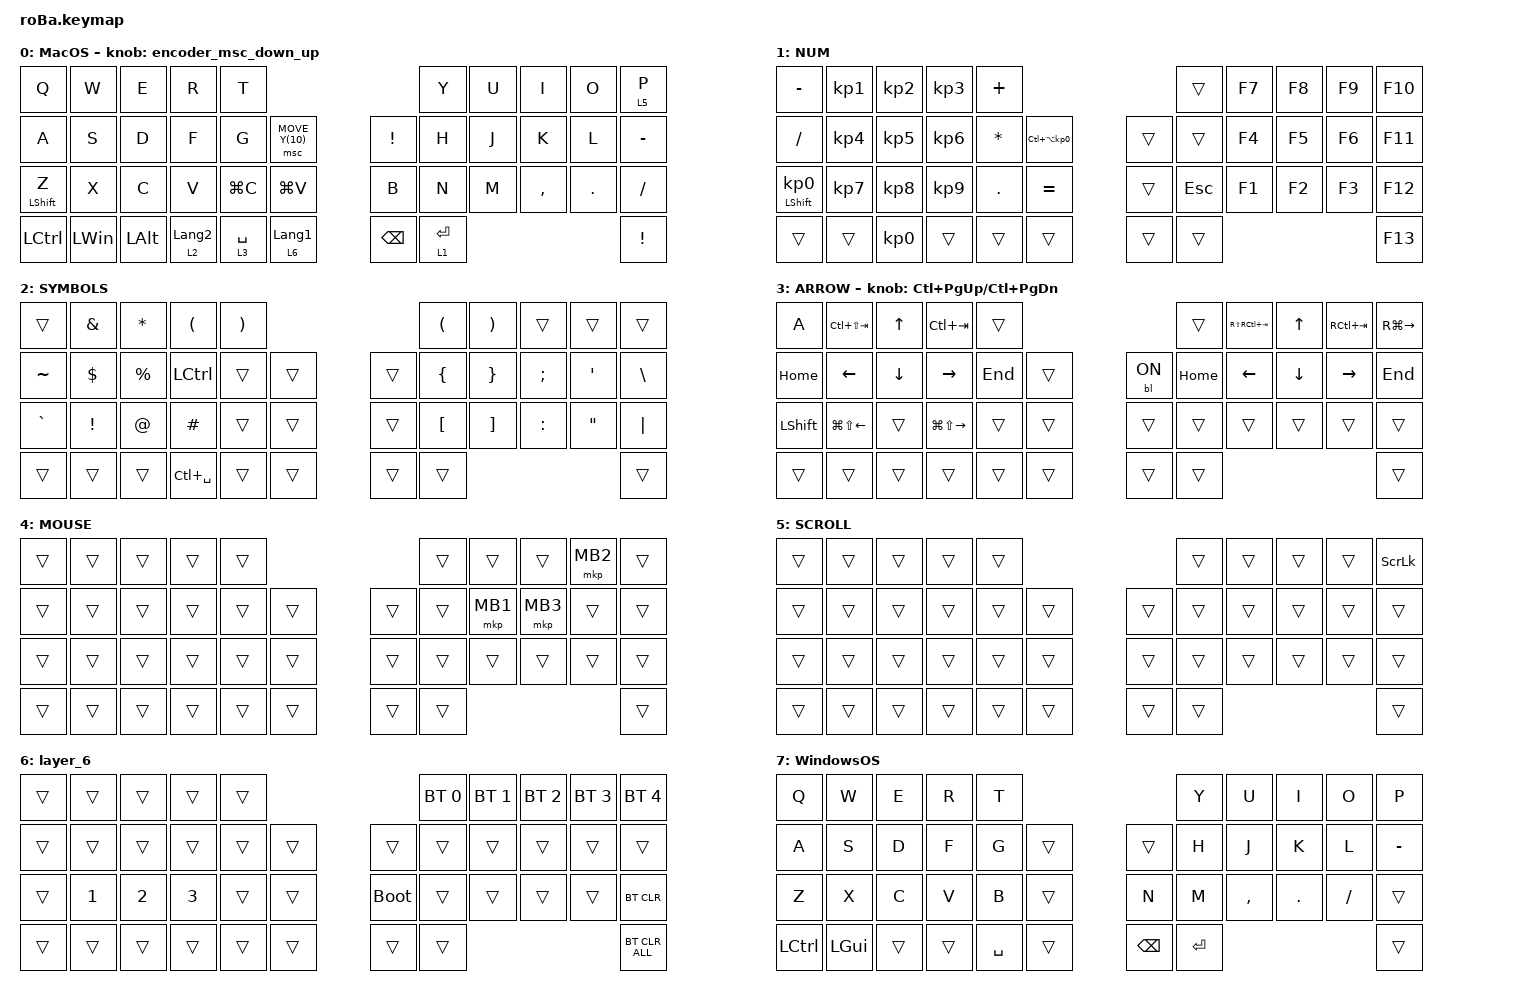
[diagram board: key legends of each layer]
#include <behaviors.dtsi>
#include <dt-bindings/zmk/backlight.h>
#include <dt-bindings/zmk/bt.h>
#include <dt-bindings/zmk/keys.h>
#include <dt-bindings/zmk/pointing.h>

#define ZMK_POINTING_DEFAULT_SCRL_VAL 80

&mt {
    flavor = "balanced";
    quick-tap-ms = <0>;
};

&trackball {
    automouse-layer = <4>;
    scroll-layers = <5>;

    // arrows {
    //     layers = <3>;
    //     bindings =
    //         <&kp RIGHT_ARROW>,
    //         <&kp LEFT_ARROW>,
    //         <&kp UP_ARROW>,
    //         <&kp DOWN_ARROW>;
    //     tick = <10>;
    //     wait-ms = <5>;
    //     tap-ms = <5>;
    // };
};

/ {
    combos {
        compatible = "zmk,combos";

        tab {
            bindings = <&kp TAB>;
            key-positions = <11 12>;
        };

        shift_tab {
            bindings = <&kp LS(TAB)>;
            key-positions = <12 13>;
        };

        muhennkann {
            bindings = <&to_layer_0 INT_MUHENKAN>;
            key-positions = <11 10>;
        };

        double_quotation {
            bindings = <&kp DOUBLE_QUOTES>;
            key-positions = <20 21>;
        };

        eq {
            bindings = <&kp EQUAL>;
            key-positions = <24 25>;
        };
    };

    macros {
        to_layer_0: to_layer_0 {
            compatible = "zmk,behavior-macro-one-param";
            #binding-cells = <1>;
            bindings = <&to 0 &macro_param_1to1 &kp MACRO_PLACEHOLDER>;
            label = "TO_LAYER_0";
        };

        mkp_exit_AML: mkp_exit_AML {
            compatible = "zmk,behavior-macro-one-param";
            #binding-cells = <1>;
            bindings =
                <&macro_press>,
                <&macro_param_1to1 &mkp MACRO_PLACEHOLDER>,
                <&macro_pause_for_release>,
                <&macro_release>,
                <&macro_param_1to1 &mkp MACRO_PLACEHOLDER>,
                <&macro_tap>,
                <&sl 4>;

            label = "MKP_EXIT_AML";
        };
    };

    behaviors {
        encoder_msc_down_up: encoder_msc_down_up {
            compatible = "zmk,behavior-sensor-rotate";
            label = "ENCODER_MSC_DOWN_UP";
            #sensor-binding-cells = <0>;
            bindings = <&msc SCRL_DOWN>, <&msc SCRL_UP>;

            tap-ms = <20>;
        };

        lt_to_layer_0: lt_to_layer_0 {
            compatible = "zmk,behavior-hold-tap";
            label = "LAYER_TAP_TO_0";
            bindings = <&mo>, <&to_layer_0>;

            #binding-cells = <2>;
            tapping-term-ms = <200>;
        };
    };

    keymap {
        compatible = "zmk,keymap";

        MacOS {
            bindings = <
&kp Q             &kp W         &kp E         &kp R                        &kp T                                                          &kp Y        &kp U  &kp I      &kp O    &lt 5 P
&kp A             &kp S         &kp D         &kp F                        &kp G        &msc MOVE_Y(10)                  &kp EXCLAMATION  &kp H        &kp J  &kp K      &kp L    &kp MINUS
&mt LEFT_SHIFT Z  &kp X         &kp C         &kp V                        &kp LG(C)    &kp LG(V)                        &kp B            &kp N        &kp M  &kp COMMA  &kp DOT  &kp SLASH
&kp LCTRL         &kp LEFT_WIN  &kp LEFT_ALT  &lt_to_layer_0 2 LANGUAGE_2  &lt 3 SPACE  &lt_to_layer_0 6 LANGUAGE_1      &kp BACKSPACE    &lt 1 ENTER                             &kp EXCLAMATION
            >;

            sensor-bindings = <&encoder_msc_down_up>;
        };

        NUM {
            bindings = <
&kp MINUS                   &kp KP_N1        &kp KP_NUMBER_2  &kp KP_NUMBER_3  &kp PLUS                                           &trans      &kp F7  &kp F8  &kp F9  &kp F10
&kp SLASH                   &kp KP_NUMBER_4  &kp KP_NUMBER_5  &kp KP_NUMBER_6  &kp ASTERISK  &kp LC(LA(KP_NUMBER_0))      &trans  &trans      &kp F4  &kp F5  &kp F6  &kp F11
&mt LEFT_SHIFT KP_NUMBER_0  &kp KP_NUMBER_7  &kp KP_NUMBER_8  &kp KP_NUMBER_9  &kp PERIOD    &kp EQUAL                    &trans  &kp ESCAPE  &kp F1  &kp F2  &kp F3  &kp F12
&trans                      &trans           &kp KP_NUMBER_0  &trans           &trans        &trans                       &trans  &trans                              &kp F13
            >;
        };

        SYMBOLS {
            bindings = <
&trans     &kp AMPS         &kp ASTERISK  &kp LEFT_PARENTHESIS  &kp RIGHT_PARENTHESIS                      &kp LEFT_PARENTHESIS  &kp RIGHT_PARENTHESIS  &trans         &trans             &trans
&kp TILDE  &kp DOLLAR       &kp PERCENT   &kp LCTRL             &trans                 &trans      &trans  &kp LEFT_BRACE        &kp RIGHT_BRACE        &kp SEMICOLON  &kp SINGLE_QUOTE   &kp BACKSLASH
&kp GRAVE  &kp EXCLAMATION  &kp AT_SIGN   &kp HASH              &trans                 &trans      &trans  &kp LEFT_BRACKET      &kp RIGHT_BRACKET      &kp COLON      &kp DOUBLE_QUOTES  &kp PIPE
&trans     &trans           &trans        &kp LC(SPACE)         &trans                 &trans      &trans  &trans                                                                         &trans
            >;
        };

        ARROW {
            bindings = <
&kp A           &kp LC(LS(TAB))         &kp UP_ARROW    &kp LC(TAB)              &trans                          &trans    &kp RS(RC(TAB))  &kp UP_ARROW    &kp RC(TAB)  &kp RG(RIGHT)
&kp HOME        &kp LEFT_ARROW          &kp DOWN_ARROW  &kp RIGHT_ARROW          &kp END  &trans      &bl BL_ON  &kp HOME  &kp LEFT         &kp DOWN_ARROW  &kp RIGHT    &kp END
&kp LEFT_SHIFT  &kp LG(LS(LEFT_ARROW))  &trans          &kp LG(LS(RIGHT_ARROW))  &trans   &trans      &trans     &trans    &trans           &trans          &trans       &trans
&trans          &trans                  &trans          &trans                   &trans   &trans      &trans     &trans                                                  &trans
            >;

            sensor-bindings = <&inc_dec_kp LC(PAGE_UP) LC(PAGE_DOWN)>;
        };

        MOUSE {
            bindings = <
&trans  &trans  &trans  &trans  &trans                      &trans  &trans    &trans    &mkp MB2  &trans
&trans  &trans  &trans  &trans  &trans  &trans      &trans  &trans  &mkp MB1  &mkp MB3  &trans    &trans
&trans  &trans  &trans  &trans  &trans  &trans      &trans  &trans  &trans    &trans    &trans    &trans
&trans  &trans  &trans  &trans  &trans  &trans      &trans  &trans                                &trans
            >;
        };

        SCROLL {
            bindings = <
&trans  &trans  &trans  &trans  &trans                      &trans  &trans  &trans  &trans  &kp SCROLLLOCK
&trans  &trans  &trans  &trans  &trans  &trans      &trans  &trans  &trans  &trans  &trans  &trans
&trans  &trans  &trans  &trans  &trans  &trans      &trans  &trans  &trans  &trans  &trans  &trans
&trans  &trans  &trans  &trans  &trans  &trans      &trans  &trans                          &trans
            >;
        };

        layer_6 {
            bindings = <
&trans  &trans        &trans        &trans        &trans                           &bt BT_SEL 0  &bt BT_SEL 1  &bt BT_SEL 2  &bt BT_SEL 3  &bt BT_SEL 4
&trans  &trans        &trans        &trans        &trans  &trans      &trans       &trans        &trans        &trans        &trans        &trans
&trans  &kp NUMBER_1  &kp NUMBER_2  &kp NUMBER_3  &trans  &trans      &bootloader  &trans        &trans        &trans        &trans        &bt BT_CLR
&trans  &trans        &trans        &trans        &trans  &trans      &trans       &trans                                                  &bt BT_CLR_ALL
            >;
        };

        WindowsOS {
            bindings = <
&kp Q      &kp W     &kp E   &kp R   &kp T                            &kp Y      &kp U      &kp I    &kp O     &kp P
&kp A      &kp S     &kp D   &kp F   &kp G      &trans      &trans    &kp H      &kp J      &kp K    &kp L     &kp MINUS
&kp Z      &kp X     &kp C   &kp V   &kp B      &trans      &kp N     &kp M      &kp COMMA  &kp DOT  &kp FSLH  &trans
&kp LCTRL  &kp LGUI  &trans  &trans  &kp SPACE  &trans      &kp BSPC  &kp ENTER                                &trans
            >;
        };
    };
};
